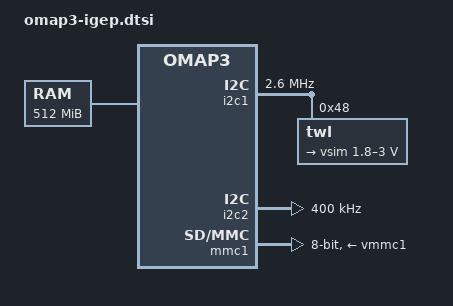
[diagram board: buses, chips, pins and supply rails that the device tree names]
/*
 * Device Tree Source for IGEP Technology devices
 *
 * Copyright (C) 2012 Javier Martinez Canillas <javier@collabora.co.uk>
 * Copyright (C) 2012 Enric Balletbo i Serra <eballetbo@gmail.com>
 *
 * This program is free software; you can redistribute it and/or modify
 * it under the terms of the GNU General Public License version 2 as
 * published by the Free Software Foundation.
 */
/dts-v1/;

/include/ "omap3.dtsi"

/ {
	memory {
		device_type = "memory";
		reg = <0x80000000 0x20000000>; /* 512 MB */
	};

	sound {
		compatible = "ti,omap-twl4030";
		ti,model = "igep2";
		ti,mcbsp = <&mcbsp2>;
		ti,codec = <&twl_audio>;
	};
};

&omap3_pmx_core {
	uart1_pins: pinmux_uart1_pins {
		pinctrl-single,pins = <
			0x152 0x100	/* uart1_rx.uart1_rx INPUT | MODE0 */
			0x14c 0		/* uart1_tx.uart1_tx OUTPUT | MODE0 */
		>;
	};

	uart2_pins: pinmux_uart2_pins {
		pinctrl-single,pins = <
			0x14a 0x100	/* uart2_rx.uart2_rx INPUT | MODE0 */
			0x148 0		/* uart2_tx.uart2_tx OUTPUT | MODE0 */
		>;
	};

	uart3_pins: pinmux_uart3_pins {
		pinctrl-single,pins = <
			0x16e 0x100	/* uart3_rx.uart3_rx INPUT | MODE0 */
			0x170 0		/* uart3_tx.uart3_tx OUTPUT | MODE0 */
		>;
	};
};

&i2c1 {
	clock-frequency = <2600000>;

	twl: twl@48 {
		reg = <0x48>;
		interrupts = <7>; /* SYS_NIRQ cascaded to intc */
		interrupt-parent = <&intc>;

		vsim: regulator@10 {
			compatible = "ti,twl4030-vsim";
			regulator-min-microvolt = <1800000>;
			regulator-max-microvolt = <3000000>;
		};

		twl_audio: audio {
			compatible = "ti,twl4030-audio";
			codec {
			      };
		};
	};
};

/include/ "twl4030.dtsi"

&i2c2 {
	clock-frequency = <400000>;
};

&mmc1 {
	vmmc-supply = <&vmmc1>;
	vmmc_aux-supply = <&vsim>;
	bus-width = <8>;
};

&mmc2 {
	status = "disabled";
};

&mmc3 {
	status = "disabled";
};

&uart1 {
       pinctrl-names = "default";
       pinctrl-0 = <&uart1_pins>;
};

&uart2 {
       pinctrl-names = "default";
       pinctrl-0 = <&uart2_pins>;
};

&uart3 {
       pinctrl-names = "default";
       pinctrl-0 = <&uart3_pins>;
};

&twl_gpio {
	ti,use-leds;
};
